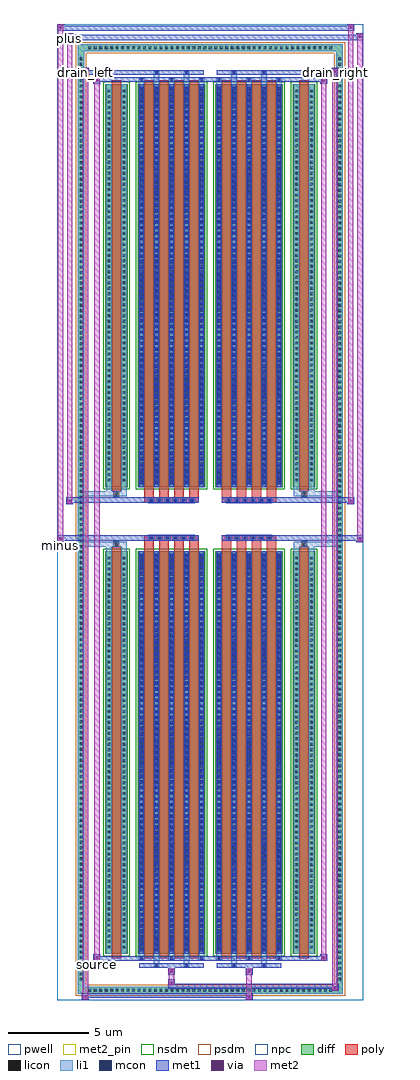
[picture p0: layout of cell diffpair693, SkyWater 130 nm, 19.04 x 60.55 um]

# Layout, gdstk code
import gdstk
lib = gdstk.Library(unit=1e-6, precision=5e-09)
def R(c, l, rs):  # rectangles x0, y0, x1, y1
    for r in rs: c.add(gdstk.rectangle(r[:2], r[2:], *l))
def A(c, l, x, y, w, h, nx, ny, dx, dy):  # array of equal rectangles
    R(c, l, [(x+i*dx, y+j*dy, x+i*dx+w, y+j*dy+h) for i in range(nx) for j in range(ny)])
def P(c, l, *ps):  # polygons
    for p in ps: c.add(gdstk.Polygon(p, *l))
pwell = (64, 44)
diff = (65, 20)
poly = (66, 20)
licon = (66, 44)
li1 = (67, 20)
mcon = (67, 44)
met1 = (68, 20)
via = (68, 44)
met2_pin = (69, 16)
met2 = (69, 20)
nsdm = (93, 44)
psdm = (94, 20)
npc = (95, 20)

diffpair693 = lib.new_cell('diffpair693')
R(diffpair693, pwell, [(-9.5,-29.84,9.5,30.71), (-6.82,-28.03,-0.01,-0.805), (0.01,-28.03,6.82,-0.805), (-6.82,0.805,-0.01,28.03), (0.01,0.805,6.82,28.03)])
A(diffpair693, diff, -7.685, -29.44, 0.41, 0.41, 45, 2, 0.34, 58.47)
A(diffpair693, diff, -8.23, -28.765, 0.41, 0.41, 1, 169, 0, 0.34)
A(diffpair693, diff, 7.82, -28.765, 0.41, 0.41, 1, 169, 0, 0.34)
R(diffpair693, diff, [(-7.685,-29.44,7.685,-29.03), (-8.23,-28.765,-7.82,28.765), (7.82,-28.765,8.23,28.765), (-6.51,-26.985,-5.13,-1.985), (-4.49,-26.985,-0.32,-1.985), (0.32,-26.985,4.49,-1.985), (5.13,-26.985,6.51,-1.985), (-6.51,1.985,-5.13,26.985), (-4.49,1.985,-0.32,26.985), (0.32,1.985,4.49,26.985), (5.13,1.985,6.51,26.985), (-7.685,29.03,7.685,29.44)])
P(diffpair693, diff, [(8.23,29.44),(-8.23,29.44),(-8.23,-29.03),(-7.82,-29.03),(-7.82,29.03),(7.82,29.03),(7.82,-29.03),(-7.82,-29.03),(-8.23,-29.03),(-8.23,-29.44),(8.23,-29.44)])
A(diffpair693, poly, -4.1, -27.235, 0.6, 25.5, 4, 2, 0.93, 28.97)
A(diffpair693, poly, 0.71, -27.235, 0.6, 25.5, 4, 2, 0.93, 28.97)
A(diffpair693, poly, -4.1, -1.735, 0.6, 0.4, 4, 2, 0.93, 3.07)
A(diffpair693, poly, 0.71, -1.735, 0.6, 0.4, 4, 2, 0.93, 3.07)
A(diffpair693, poly, -3.82, -1.335, 0.33, 0.33, 6, 2, 0.5, 2.34)
A(diffpair693, poly, 0.99, -1.335, 0.33, 0.33, 6, 2, 0.5, 2.34)
R(diffpair693, poly, [(-6.12,-27.235,-5.52,-1.735), (5.52,-27.235,6.12,-1.735), (-5.985,-1.735,-5.655,-1.405), (-5.985,-1.735,-5.655,-1.405), (5.655,-1.735,5.985,-1.405), (5.655,-1.735,5.985,-1.405), (-4.1,-1.335,-0.71,-1.005), (0.71,-1.335,4.1,-1.005), (-4.1,1.005,-0.71,1.335), (0.71,1.005,4.1,1.335), (-5.985,1.405,-5.655,1.735), (-5.985,1.405,-5.655,1.735), (5.655,1.405,5.985,1.735), (5.655,1.405,5.985,1.735), (-6.12,1.735,-5.52,27.235), (5.52,1.735,6.12,27.235)])
A(diffpair693, licon, -7.565, -29.32, 0.17, 0.17, 45, 2, 0.34, 58.47)
A(diffpair693, licon, -8.11, -28.645, 0.17, 0.17, 1, 169, 0, 0.34)
A(diffpair693, licon, 7.94, -28.645, 0.17, 0.17, 1, 169, 0, 0.34)
A(diffpair693, licon, -6.37, -26.64, 0.17, 0.17, 1, 72, 0, 0.34)
A(diffpair693, licon, -5.44, -26.64, 0.17, 0.17, 1, 72, 0, 0.34)
A(diffpair693, licon, -4.35, -26.64, 0.17, 0.17, 5, 72, 0.93, 0.34)
A(diffpair693, licon, 0.46, -26.64, 0.17, 0.17, 5, 72, 0.93, 0.34)
A(diffpair693, licon, 5.27, -26.64, 0.17, 0.17, 1, 72, 0, 0.34)
A(diffpair693, licon, 6.2, -26.64, 0.17, 0.17, 1, 72, 0, 0.34)
A(diffpair693, licon, -3.74, -1.255, 0.17, 0.17, 6, 2, 0.5, 2.34)
A(diffpair693, licon, 1.07, -1.255, 0.17, 0.17, 6, 2, 0.5, 2.34)
A(diffpair693, licon, -6.37, 2.33, 0.17, 0.17, 1, 72, 0, 0.34)
A(diffpair693, licon, -5.44, 2.33, 0.17, 0.17, 1, 72, 0, 0.34)
A(diffpair693, licon, -4.35, 2.33, 0.17, 0.17, 5, 72, 0.93, 0.34)
A(diffpair693, licon, 0.46, 2.33, 0.17, 0.17, 5, 72, 0.93, 0.34)
A(diffpair693, licon, 5.27, 2.33, 0.17, 0.17, 1, 72, 0, 0.34)
A(diffpair693, licon, 6.2, 2.33, 0.17, 0.17, 1, 72, 0, 0.34)
R(diffpair693, licon, [(-5.905,-1.655,-5.735,-1.485), (5.735,-1.655,5.905,-1.485), (-5.905,1.485,-5.735,1.655), (5.735,1.485,5.905,1.655)])
A(diffpair693, li1, -7.645, -29.4, 0.33, 0.33, 45, 2, 0.34, 58.47)
A(diffpair693, li1, -8.19, -28.725, 0.33, 0.33, 1, 169, 0, 0.34)
A(diffpair693, li1, 7.86, -28.725, 0.33, 0.33, 1, 169, 0, 0.34)
A(diffpair693, li1, -4.43, -27.36, 0.33, 0.375, 3, 2, 1.86, 54.345)
A(diffpair693, li1, -4.35, -27.36, 0.17, 0.17, 3, 2, 1.86, 54.55)
A(diffpair693, li1, 0.38, -27.36, 0.33, 0.375, 3, 2, 1.86, 54.345)
A(diffpair693, li1, 0.46, -27.36, 0.17, 0.17, 3, 2, 1.86, 54.55)
A(diffpair693, li1, -4.43, -26.985, 0.33, 25, 5, 2, 0.93, 28.97)
A(diffpair693, li1, 0.38, -26.985, 0.33, 25, 5, 2, 0.93, 28.97)
A(diffpair693, li1, -4.35, -26.81, 0.17, 0.17, 5, 69, 0.93, 0.36)
A(diffpair693, li1, -4.35, -26.81, 0.17, 24.65, 5, 2, 0.93, 28.97)
A(diffpair693, li1, 0.46, -26.81, 0.17, 0.17, 5, 69, 0.93, 0.36)
A(diffpair693, li1, 0.46, -26.81, 0.17, 24.65, 5, 2, 0.93, 28.97)
A(diffpair693, li1, -6.45, -26.72, 0.33, 0.33, 1, 72, 0, 0.34)
A(diffpair693, li1, -5.52, -26.72, 0.33, 0.33, 1, 72, 0, 0.34)
A(diffpair693, li1, -4.43, -26.72, 0.33, 0.33, 5, 72, 0.93, 0.34)
A(diffpair693, li1, 0.38, -26.72, 0.33, 0.33, 5, 72, 0.93, 0.34)
A(diffpair693, li1, 5.19, -26.72, 0.33, 0.33, 1, 72, 0, 0.34)
A(diffpair693, li1, 6.12, -26.72, 0.33, 0.33, 1, 72, 0, 0.34)
A(diffpair693, li1, -3.82, -1.335, 0.33, 0.33, 6, 2, 0.5, 2.34)
A(diffpair693, li1, 0.99, -1.335, 0.33, 0.33, 6, 2, 0.5, 2.34)
A(diffpair693, li1, -4.35, 2.16, 0.17, 0.17, 5, 69, 0.93, 0.36)
A(diffpair693, li1, 0.46, 2.16, 0.17, 0.17, 5, 69, 0.93, 0.36)
A(diffpair693, li1, -6.45, 2.25, 0.33, 0.33, 1, 72, 0, 0.34)
A(diffpair693, li1, -5.52, 2.25, 0.33, 0.33, 1, 72, 0, 0.34)
A(diffpair693, li1, -4.43, 2.25, 0.33, 0.33, 5, 72, 0.93, 0.34)
A(diffpair693, li1, 0.38, 2.25, 0.33, 0.33, 5, 72, 0.93, 0.34)
A(diffpair693, li1, 5.19, 2.25, 0.33, 0.33, 1, 72, 0, 0.34)
A(diffpair693, li1, 6.12, 2.25, 0.33, 0.33, 1, 72, 0, 0.34)
R(diffpair693, li1, [(-8.23,-29.44,-7.82,-29.03), (-8.23,-29.44,-7.82,-29.03), (-7.82,-29.44,7.82,-29.03), (7.82,-29.44,8.23,-29.03), (7.82,-29.44,8.23,-29.03), (-8.23,-29.03,-7.82,29.03), (7.82,-29.03,8.23,29.03), (-3.5,-27.79,-3.17,-26.985), (-3.42,-27.79,-3.25,-27.62), (-1.64,-27.79,-1.31,-26.985), (-1.56,-27.79,-1.39,-27.62), (1.31,-27.79,1.64,-26.985), (1.39,-27.79,1.56,-27.62), (3.17,-27.79,3.5,-26.985), (3.25,-27.79,3.42,-27.62), (-6.45,-26.985,-6.12,-1.985), (-5.52,-26.985,-5.19,-1.985), (5.19,-26.985,5.52,-1.985), (6.12,-26.985,6.45,-1.985), (-6.45,-1.985,-6.12,-1.405), (-5.52,-1.985,-5.19,-1.405), (5.19,-1.985,5.52,-1.405), (6.12,-1.985,6.45,-1.405), (-8.23,-1.735,-5.985,-1.405), (-6.45,-1.735,-5.985,-1.405), (-5.985,-1.735,-5.655,-1.405), (-5.655,-1.735,-5.19,-1.405), (5.19,-1.735,5.655,-1.405), (5.655,-1.735,5.985,-1.405), (5.655,-1.735,8.23,-1.405), (5.985,-1.735,6.45,-1.405), (-8.23,1.405,-5.985,1.735), (-6.45,1.405,-5.985,1.735), (-6.45,1.405,-6.12,1.985), (-5.985,1.405,-5.655,1.735), (-5.655,1.405,-5.19,1.735), (-5.52,1.405,-5.19,1.985), (5.19,1.405,5.655,1.735), (5.19,1.405,5.52,1.985), (5.655,1.405,5.985,1.735), (5.655,1.405,8.23,1.735), (5.985,1.405,6.45,1.735), (6.12,1.405,6.45,1.985), (-6.45,1.985,-6.12,26.985), (-5.52,1.985,-5.19,26.985), (5.19,1.985,5.52,26.985), (6.12,1.985,6.45,26.985), (-3.5,26.985,-3.17,27.79), (-1.64,26.985,-1.31,27.79), (1.31,26.985,1.64,27.79), (3.17,26.985,3.5,27.79), (-3.42,27.62,-3.25,27.79), (-1.56,27.62,-1.39,27.79), (1.39,27.62,1.56,27.79), (3.25,27.62,3.42,27.79), (-8.23,29.03,-7.82,29.44), (-8.23,29.03,-7.82,29.44), (-7.82,29.03,7.82,29.44), (7.82,29.03,8.23,29.44), (7.82,29.03,8.23,29.44)])
A(diffpair693, mcon, -4.35, -27.36, 0.17, 0.17, 3, 2, 1.86, 54.55)
A(diffpair693, mcon, 0.46, -27.36, 0.17, 0.17, 3, 2, 1.86, 54.55)
A(diffpair693, mcon, -4.35, -26.81, 0.17, 0.17, 5, 69, 0.93, 0.36)
A(diffpair693, mcon, 0.46, -26.81, 0.17, 0.17, 5, 69, 0.93, 0.36)
A(diffpair693, mcon, -3.74, -1.255, 0.17, 0.17, 6, 2, 0.5, 2.34)
A(diffpair693, mcon, 1.07, -1.255, 0.17, 0.17, 6, 2, 0.5, 2.34)
A(diffpair693, mcon, -4.35, 2.16, 0.17, 0.17, 5, 69, 0.93, 0.36)
A(diffpair693, mcon, 0.46, 2.16, 0.17, 0.17, 5, 69, 0.93, 0.36)
R(diffpair693, mcon, [(-3.42,-27.79,-3.25,-27.62), (-1.56,-27.79,-1.39,-27.62), (1.39,-27.79,1.56,-27.62), (3.25,-27.79,3.42,-27.62), (-3.42,27.62,-3.25,27.79), (-1.56,27.62,-1.39,27.79), (1.39,27.62,1.56,27.79), (3.25,27.62,3.42,27.79)])
A(diffpair693, met1, -4.41, -27.42, 0.29, 0.29, 3, 2, 1.86, 54.55)
A(diffpair693, met1, 0.4, -27.42, 0.29, 0.29, 3, 2, 1.86, 54.55)
A(diffpair693, met1, -4.41, -26.985, 0.29, 25, 5, 2, 0.93, 28.97)
A(diffpair693, met1, 0.4, -26.985, 0.29, 25, 5, 2, 0.93, 28.97)
A(diffpair693, met1, -4.41, -26.87, 0.29, 0.29, 5, 69, 0.93, 0.36)
A(diffpair693, met1, 0.4, -26.87, 0.29, 0.29, 5, 69, 0.93, 0.36)
A(diffpair693, met1, -3.8, -1.315, 0.29, 0.29, 6, 2, 0.5, 2.34)
A(diffpair693, met1, 1.01, -1.315, 0.29, 0.29, 6, 2, 0.5, 2.34)
A(diffpair693, met1, -4.41, 2.1, 0.29, 0.29, 5, 69, 0.93, 0.36)
A(diffpair693, met1, 0.4, 2.1, 0.29, 0.29, 5, 69, 0.93, 0.36)
R(diffpair693, met1, [(-7.96,-29.84,-7.53,-29.41), (2.19,-29.84,2.62,-29.41), (-7.96,-29.7,2.62,-29.41), (7.53,-29.27,7.96,-28.84), (-2.62,-29.13,7.96,-28.84), (-2.62,-28.99,-2.19,-28.56), (-2.62,-28.28,-2.19,-27.85), (2.19,-28.28,2.62,-27.85), (-4.41,-27.85,-0.4,-27.56), (-3.48,-27.85,-3.19,-27.56), (-1.62,-27.85,-1.33,-27.56), (0.4,-27.85,4.41,-27.56), (1.33,-27.85,1.62,-27.56), (3.19,-27.85,3.48,-27.56), (-7.25,-27.42,-6.82,-26.99), (-7.25,-27.42,-4.41,-27.13), (-4.41,-27.42,-0.4,-27.13), (-0.4,-27.42,0.4,-27.13), (0.4,-27.42,4.41,-27.13), (4.41,-27.42,7.25,-27.13), (6.82,-27.42,7.25,-26.99), (-9.5,-1.435,-9.07,-1.005), (9.07,-1.435,9.5,-1.005), (-9.5,-1.335,-0.71,-1.005), (-4.1,-1.335,-0.71,-1.005), (0.71,-1.335,4.1,-1.005), (0.71,-1.335,9.5,-1.005), (-8.93,0.905,-8.5,1.335), (8.5,0.905,8.93,1.335), (-8.93,1.005,-4.1,1.335), (-4.1,1.005,-0.71,1.335), (0.71,1.005,4.1,1.335), (4.1,1.005,8.93,1.335), (-7.25,26.99,-6.82,27.42), (6.82,26.99,7.25,27.42), (-7.25,27.13,-4.41,27.42), (-4.41,27.13,-0.4,27.42), (-0.4,27.13,0.4,27.42), (0.4,27.13,4.41,27.42), (4.41,27.13,7.25,27.42), (-7.96,27.56,-7.53,27.99), (-7.96,27.56,-4.41,27.85), (-4.41,27.56,-0.4,27.85), (-3.48,27.56,-3.19,27.85), (-1.62,27.56,-1.33,27.85), (0.4,27.56,4.41,27.85), (1.33,27.56,1.62,27.85), (3.19,27.56,3.48,27.85), (4.41,27.56,7.96,27.85), (7.53,27.56,7.96,27.99), (-8.93,29.71,-8.5,30.14), (-8.93,29.71,-6.82,30.04), (-6.82,29.71,6.82,30.04), (6.82,29.71,9.5,30.04), (9.07,29.71,9.5,30.14), (-9.5,30.28,-9.07,30.71), (-9.5,30.28,-6.82,30.61), (-6.82,30.28,6.82,30.61), (6.82,30.28,8.93,30.61), (8.5,30.28,8.93,30.71)])
R(diffpair693, via, [(-7.82,-29.7,-7.67,-29.55), (2.33,-29.7,2.48,-29.55), (7.67,-29.13,7.82,-28.98), (-2.48,-28.85,-2.33,-28.7), (-2.48,-28.14,-2.33,-27.99), (2.33,-28.14,2.48,-27.99), (-7.11,-27.28,-6.96,-27.13), (6.96,-27.28,7.11,-27.13), (-9.36,-1.295,-9.21,-1.145), (9.21,-1.295,9.36,-1.145), (-8.79,1.045,-8.64,1.195), (8.64,1.045,8.79,1.195), (-7.11,27.13,-6.96,27.28), (6.96,27.13,7.11,27.28), (-7.82,27.7,-7.67,27.85), (7.67,27.7,7.82,27.85), (-8.79,29.85,-8.64,30), (9.21,29.85,9.36,30), (-9.36,30.42,-9.21,30.57), (8.64,30.42,8.79,30.57)])
R(diffpair693, met2_pin, [(-7.285,-27.87,-6.785,-27.37), (-9.535,-1.885,-9.035,-1.385), (-7.995,27.44,-7.495,27.94), (7.495,27.44,7.995,27.94), (-8.965,29.59,-8.465,30.09)])
R(diffpair693, met2, [(-7.91,-29.79,-7.58,-29.46), (-7.91,-29.79,-7.58,27.94), (2.24,-29.79,2.57,-29.46), (2.24,-29.46,2.57,-28.23), (7.58,-29.22,7.91,-28.89), (7.58,-29.22,7.91,27.94), (-2.57,-28.94,-2.24,-28.61), (-2.57,-28.61,-2.24,-28.23), (-2.57,-28.23,-2.24,-27.9), (2.24,-28.23,2.57,-27.9), (-7.2,-27.37,-6.87,-27.04), (-7.2,-27.37,-6.87,27.37), (6.87,-27.37,7.2,-27.04), (6.87,-27.37,7.2,27.37), (-9.45,-1.385,-9.12,-1.055), (-9.45,-1.385,-9.12,30.66), (9.12,-1.385,9.45,-1.055), (9.12,-1.385,9.45,30.09), (-8.88,0.955,-8.55,1.285), (-8.88,0.955,-8.55,30.09), (8.55,0.955,8.88,1.285), (8.55,0.955,8.88,30.66), (-7.2,27.04,-6.87,27.37), (6.87,27.04,7.2,27.37), (-7.91,27.61,-7.58,27.94), (7.58,27.61,7.91,27.94), (-8.88,29.76,-8.55,30.09), (9.12,29.76,9.45,30.09), (-9.45,30.33,-9.12,30.66), (8.55,30.33,8.88,30.66)])
P(diffpair693, met2, [(9.45,-1.385),(9.45,-1.385),(9.45,-1.055),(9.45,-1.055)],
  [(9.45,29.76),(9.45,29.76),(9.45,30.09),(9.45,30.09)],
  [(-9.12,-1.385),(-9.12,-1.385),(-9.12,-1.055),(-9.12,-1.055)],
  [(-9.12,30.33),(-9.12,30.33),(-9.12,30.66),(-9.12,30.66)],
  [(8.88,0.955),(8.88,0.955),(8.88,1.285),(8.88,1.285)],
  [(8.88,30.33),(8.88,30.33),(8.88,30.66),(8.88,30.66)],
  [(-8.55,0.955),(-8.55,0.955),(-8.55,1.285),(-8.55,1.285)],
  [(-8.55,29.76),(-8.55,29.76),(-8.55,30.09),(-8.55,30.09)],
  [(-7.58,-29.79),(-7.58,-29.79),(-7.58,-29.46),(-7.58,-29.46)],
  [(-7.58,27.61),(-7.58,27.61),(-7.58,27.94),(-7.58,27.94)],
  [(7.91,-29.22),(7.91,-29.22),(7.91,-28.89),(7.91,-28.89)],
  [(7.91,27.61),(7.91,27.61),(7.91,27.94),(7.91,27.94)],
  [(-6.87,-27.37),(-6.87,-27.37),(-6.87,-27.04),(-6.87,-27.04)],
  [(-6.87,27.04),(-6.87,27.04),(-6.87,27.37),(-6.87,27.37)],
  [(7.2,-27.37),(7.2,-27.37),(7.2,-27.04),(7.2,-27.04)],
  [(7.2,27.04),(7.2,27.04),(7.2,27.37),(7.2,27.37)])
R(diffpair693, nsdm, [(-6.64,-27.115,-5,-1.855), (-4.62,-27.115,-0.19,-1.855), (0.19,-27.115,4.62,-1.855), (5,-27.115,6.64,-1.855), (-6.64,1.855,-5,27.115), (-4.62,1.855,-0.19,27.115), (0.19,1.855,4.62,27.115), (5,1.855,6.64,27.115)])
P(diffpair693, psdm, [(8.36,29.57),(-8.36,29.57),(-8.36,-28.9),(-7.69,-28.9),(-7.69,28.9),(7.69,28.9),(7.69,-28.9),(-7.69,-28.9),(-8.36,-28.9),(-8.36,-29.57),(8.36,-29.57)])
A(diffpair693, npc, -3.84, -1.355, 0.37, 0.37, 6, 2, 0.5, 2.34)
A(diffpair693, npc, 0.97, -1.355, 0.37, 0.37, 6, 2, 0.5, 2.34)
R(diffpair693, npc, [(-6.005,-1.755,-5.635,-1.385), (5.635,-1.755,6.005,-1.385), (-3.84,-1.355,-2.97,-0.985), (-3.84,-1.355,-2.97,-0.985), (-3.34,-1.355,-2.47,-0.985), (-3.34,-1.355,-2.47,-0.985), (-2.84,-1.355,-1.97,-0.985), (-2.84,-1.355,-1.97,-0.985), (-2.34,-1.355,-1.47,-0.985), (-2.34,-1.355,-1.47,-0.985), (-1.84,-1.355,-0.97,-0.985), (-1.84,-1.355,-0.97,-0.985), (0.97,-1.355,1.84,-0.985), (0.97,-1.355,1.84,-0.985), (1.47,-1.355,2.34,-0.985), (1.47,-1.355,2.34,-0.985), (1.97,-1.355,2.84,-0.985), (1.97,-1.355,2.84,-0.985), (2.47,-1.355,3.34,-0.985), (2.47,-1.355,3.34,-0.985), (2.97,-1.355,3.84,-0.985), (2.97,-1.355,3.84,-0.985), (-3.84,0.985,-2.97,1.355), (-3.84,0.985,-2.97,1.355), (-3.34,0.985,-2.47,1.355), (-3.34,0.985,-2.47,1.355), (-2.84,0.985,-1.97,1.355), (-2.84,0.985,-1.97,1.355), (-2.34,0.985,-1.47,1.355), (-2.34,0.985,-1.47,1.355), (-1.84,0.985,-0.97,1.355), (-1.84,0.985,-0.97,1.355), (0.97,0.985,1.84,1.355), (0.97,0.985,1.84,1.355), (1.47,0.985,2.34,1.355), (1.47,0.985,2.34,1.355), (1.97,0.985,2.84,1.355), (1.97,0.985,2.84,1.355), (2.47,0.985,3.34,1.355), (2.47,0.985,3.34,1.355), (2.97,0.985,3.84,1.355), (2.97,0.985,3.84,1.355), (-6.005,1.385,-5.635,1.755), (5.635,1.385,6.005,1.755)])
diffpair693.add(gdstk.Label('minus', (-9.285,-1.635), layer=69, texttype=5))
diffpair693.add(gdstk.Label('drain_right', (7.745,27.69), layer=69, texttype=5))
diffpair693.add(gdstk.Label('drain_left', (-7.745,27.69), layer=69, texttype=5))
diffpair693.add(gdstk.Label('source', (-7.035,-27.62), layer=69, texttype=5))
diffpair693.add(gdstk.Label('plus', (-8.715,29.84), layer=69, texttype=5))

lib.write_gds('diffpair693.gds')
